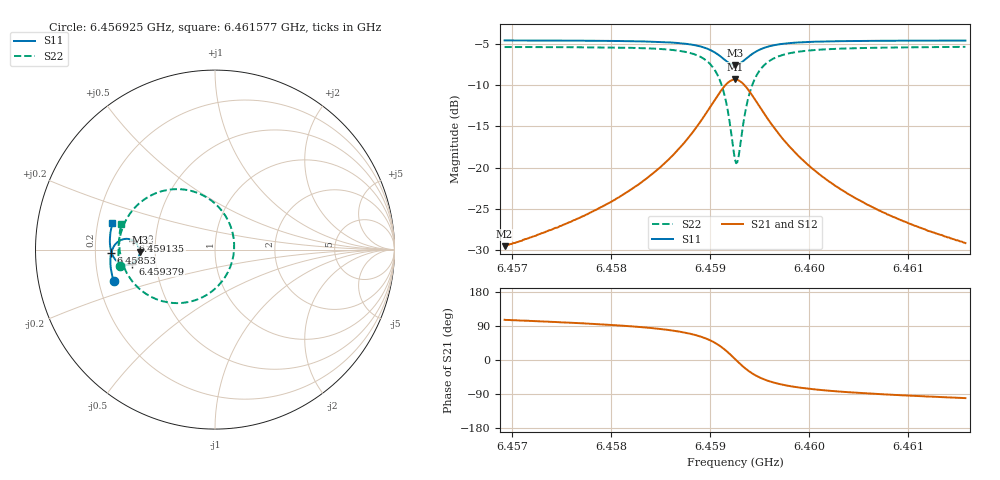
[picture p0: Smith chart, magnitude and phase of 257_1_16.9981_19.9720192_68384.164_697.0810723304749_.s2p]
#  HZ  S  RI  R  50.00
! Rohde & Schwarz Vector Network Analyzer
! Rohde-Schwarz,ZNB20-2Port,1311601062101988,3.16
! Created: UTC 3/20/2024, 11:03:37 PM
! freq[Hz]  re:S11  im:S11  re:S21  im:S21  re:S12  im:S12  re:S22  im:S22
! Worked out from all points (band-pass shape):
!   401 points, 6.456925 GHz to 6.461577 GHz, reference 50 ohm
!   highest |S21| = -9.30 dB at 6.459251 GHz (marker M1); lowest = -29.6 dB at 6.456925 GHz (marker M2)
!   |S21| within 3 dB of the highest: 6.459018 GHz to 6.459483 GHz (464.8 kHz wide, 0.0072 % of centre)
!   lowest |S11| = -7.5 dB at 6.459251 GHz (marker M3), VSWR 2.45, Z = 20.4 - j0.618 ohm
!   |S11| at or under -10 dB: nowhere
!   |S22| runs from -19.5 to -5.3 dB; largest |S21 - S12| = 0.013
!   S11 on the Smith chart (normalised r, x): 6.456925 GHz: 0.26, -0.14; 6.45853 GHz: 0.27, -0.01; 6.459135 GHz: 0.37, +0.05; 6.459379 GHz: 0.37, -0.07; 6.461577 GHz: 0.26, +0.12
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6.4569246e9  -0.565 -0.1768  -0.00924 0.032  -0.00751 0.032  -0.5316 -0.0936
6.457704e9  -0.5798 -0.1089  -0.00598 0.05  -0.00345 0.0494  -0.5383 -0.00303
6.4581343e9  -0.5831 -0.0662  -0.000267 0.0692  0.00309 0.068  -0.5309 0.0647
6.4584833e9  -0.5798 -0.0248  0.0133 0.098  0.0173 0.0954  -0.5065 0.1429
6.4585298e9  -0.5782 -0.0184  0.0167 0.1034  0.0207 0.1006  -0.5002 0.1559
6.4587392e9  -0.5664 0.0133  0.0425 0.135  0.0467 0.1305  -0.4521 0.2276
6.4588904e9  -0.5452 0.0399  0.0847 0.1654  0.088 0.159  -0.3741 0.2922
6.4590416e9  -0.4994 0.0596  0.176 0.1847  0.177 0.1774  -0.2071 0.3369
6.4591347e9  -0.4552 0.0498  0.2653 0.1542  0.2657 0.1484  -0.0415 0.2878
6.4591812e9  -0.4342 0.0312  0.3091 0.1119  0.3103 0.1065  0.0413 0.2124
6.459251e9  -0.4194 -0.0124  0.3425 0.0159  0.346 0.00897  0.1065 0.0341
6.4592626e9  -0.4198 -0.0204  0.3424 -0.00203  0.3461 -0.00943  0.1063 0.000673
6.4592859e9  -0.4232 -0.0357  0.3369 -0.0363  0.3407 -0.0452  0.0956 -0.0647
6.4593324e9  -0.4386 -0.0617  0.3089 -0.0959  0.311 -0.1075  0.0389 -0.1773
6.4593789e9  -0.4605 -0.0778  0.2673 -0.1367  0.2665 -0.1498  -0.0452 -0.2519
6.459472e9  -0.5033 -0.0846  0.1834 -0.1679  0.1774 -0.1794  -0.2124 -0.2982
6.4596232e9  -0.5469 -0.0642  0.0963 -0.1548  0.0878 -0.1609  -0.379 -0.2499
6.459786e9  -0.5683 -0.0367  0.0516 -0.1273  0.0442 -0.1301  -0.4592 -0.1788
6.4600303e9  -0.5812 -0.00115  0.0225 -0.0961  0.0168 -0.0968  -0.5073 -0.0968
6.4603909e9  -0.5857 0.0414  0.00611 -0.0691  0.00225 -0.0687  -0.5296 -0.0156
6.4608096e9  -0.5838 0.0831  -0.00121 -0.0514  -0.00406 -0.0506  -0.5336 0.0506
6.4615773e9  -0.5715 0.1509  -0.00639 -0.0342  -0.00805 -0.0334  -0.5226 0.141
